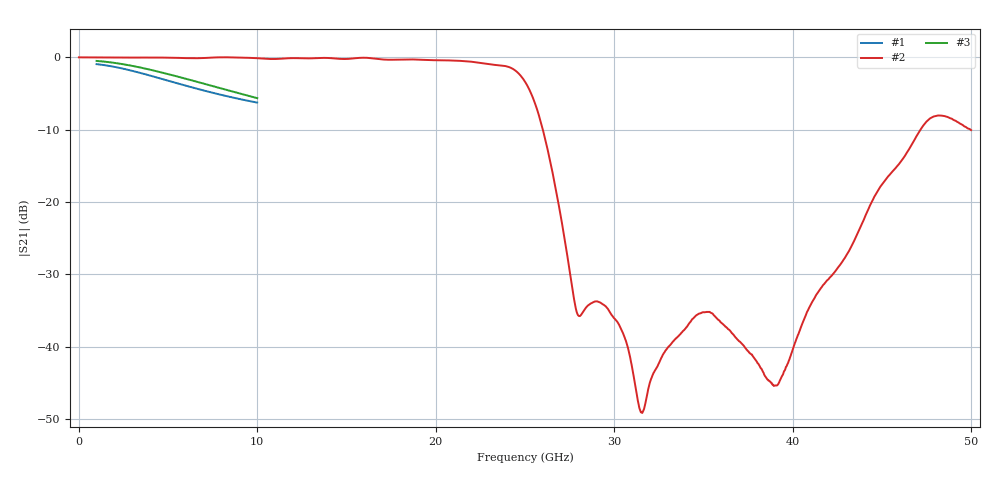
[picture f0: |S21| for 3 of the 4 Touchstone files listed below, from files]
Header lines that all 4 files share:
! License: BSD-3-Clause
! License: BSD-3-Clause
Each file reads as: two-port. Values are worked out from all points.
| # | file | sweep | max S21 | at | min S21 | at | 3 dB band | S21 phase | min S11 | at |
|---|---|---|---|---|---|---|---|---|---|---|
| 1 | cascade_ntwk1_ntwk2.s2p | 1 GHz to 10 GHz | -0.96 dB | 1 GHz | -6.3 dB | 10 GHz | 1 GHz-6 GHz | -66 deg at 5.5 GHz | -14.2 dB | 1 GHz |
| 2 | LFCN-2352+_Plus25degC.s2p | 10 MHz to 50 GHz | -0.01 dB | 8.075 GHz | -49.1 dB | 31.57 GHz | 10 MHz-24.9 GHz | 143 deg at 24.95 GHz | -58.5 dB | 15.93 GHz |
| 3 | ntwks_ntwk1.s2p | 1 GHz to 10 GHz | -0.52 dB | 1 GHz | -5.7 dB | 10 GHz | 1 GHz-6.8 GHz | -50 deg at 5.5 GHz | -16.3 dB | 1 GHz |
| 4 | ntwks_ntwk3.s2p | 1 GHz to 10 GHz | -0.96 dB | 1 GHz | -6.3 dB | 10 GHz | 1 GHz-6 GHz | -66 deg at 5.5 GHz | -14.2 dB | 1 GHz |
